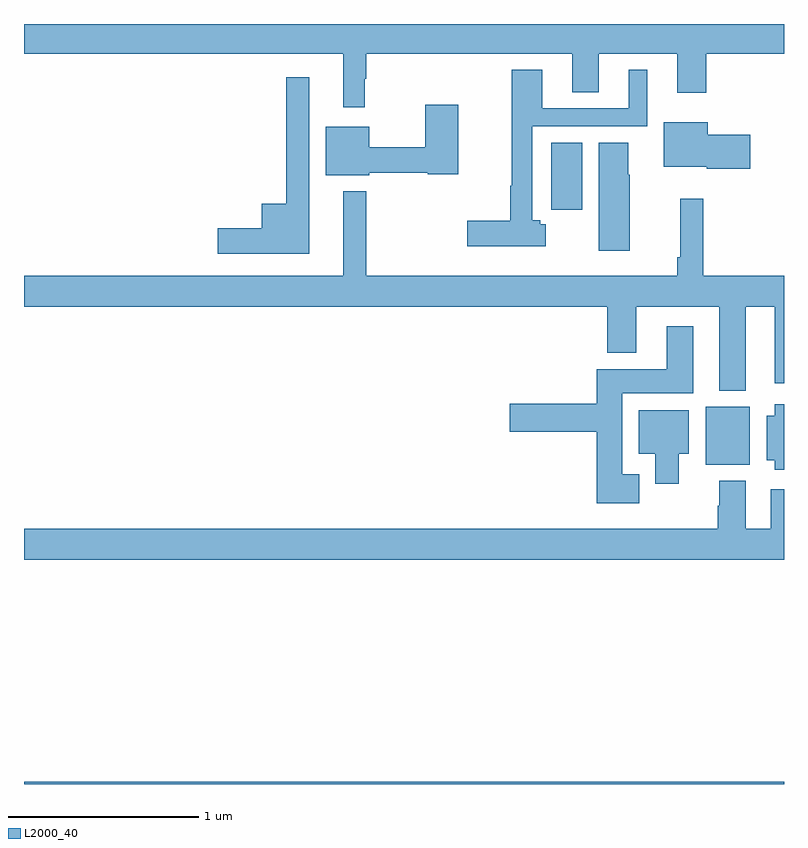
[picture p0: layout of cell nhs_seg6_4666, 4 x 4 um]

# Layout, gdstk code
import gdstk
lib = gdstk.Library(unit=1e-6, precision=1e-09)
def R(c, l, rs):  # rectangles x0, y0, x1, y1
    for r in rs: c.add(gdstk.rectangle(r[:2], r[2:], *l))
def P(c, l, *ps):  # polygons
    for p in ps: c.add(gdstk.Polygon(p, *l))
L2000_40 = (2000, 40)

nhs_seg6_4666 = lib.new_cell('nhs_seg6_4666')
R(nhs_seg6_4666, L2000_40, [(387,935.5,391,935.512), (390.587,937.181,390.82,937.486)])
P(nhs_seg6_4666, L2000_40, [(388.793,939.212),(388.801,939.212),(388.801,939.344),(389.885,939.344),(389.885,939.142),(390.025,939.142),(390.025,939.344),(390.437,939.344),(390.437,939.138),(390.59,939.138),(390.59,939.344),(391,939.344),(391,939.5),(387,939.5),(387,939.344),(388.679,939.344),(388.679,939.063),(388.793,939.063)],
  [(389.747,938.447),(389.718,938.447),(389.718,938.466),(389.676,938.466),(389.676,938.961),(390.28,938.961),(390.28,939.259),(390.182,939.259),(390.182,939.057),(389.728,939.057),(389.728,939.259),(389.568,939.259),(389.568,938.648),(389.56,938.648),(389.56,938.465),(389.334,938.465),(389.334,938.33),(389.747,938.33)],
  [(388.501,939.22),(388.38,939.22),(388.38,938.554),(388.25,938.554),(388.25,938.426),(388.02,938.426),(388.02,938.291),(388.501,938.291)],
  [(388.816,938.716),(389.124,938.716),(389.124,938.708),(389.286,938.708),(389.286,939.076),(389.113,939.076),(389.113,938.852),(388.816,938.852),(388.816,938.959),(388.589,938.959),(388.589,938.705),(388.816,938.705)],
  [(390.823,938.916),(390.598,938.916),(390.598,938.983),(390.368,938.983),(390.368,938.75),(390.594,938.75),(390.594,938.738),(390.823,938.738)],
  [(390.187,938.706),(390.181,938.706),(390.181,938.876),(390.026,938.876),(390.026,938.307),(390.187,938.307)],
  [(389.938,938.876),(389.774,938.876),(389.774,938.635),(389.776,938.635),(389.776,938.523),(389.938,938.523)],
  [(390.799,938.012),(390.95,938.012),(390.95,937.608),(391,937.608),(391,938.176),(390.575,938.176),(390.575,938.581),(390.454,938.581),(390.454,938.272),(390.439,938.272),(390.439,938.176),(388.801,938.176),(388.801,938.62),(388.679,938.62),(388.679,938.176),(387,938.176),(387,938.012),(390.071,938.012),(390.071,937.769),(390.223,937.769),(390.223,938.012),(390.659,938.012),(390.659,937.571),(390.799,937.571)],
  [(390.238,937.129),(390.148,937.129),(390.148,937.556),(390.523,937.556),(390.523,937.909),(390.383,937.909),(390.383,937.684),(390.014,937.684),(390.014,937.502),(389.556,937.502),(389.556,937.355),(390.014,937.355),(390.014,936.977),(390.238,936.977)],
  [(391,937.498),(390.95,937.498),(390.95,937.438),(390.908,937.438),(390.908,937.205),(390.95,937.205),(390.95,937.154),(391,937.154)],
  [(390.445,937.238),(390.499,937.238),(390.499,937.468),(390.236,937.468),(390.236,937.238),(390.323,937.238),(390.323,937.08),(390.445,937.08)],
  [(391,937.051),(390.929,937.051),(390.929,936.844),(390.799,936.844),(390.799,937.096),(390.659,937.096),(390.659,936.965),(390.652,936.965),(390.652,936.844),(387,936.844),(387,936.68),(391,936.68)])

lib.write_gds('nhs_seg6_4666.gds')
